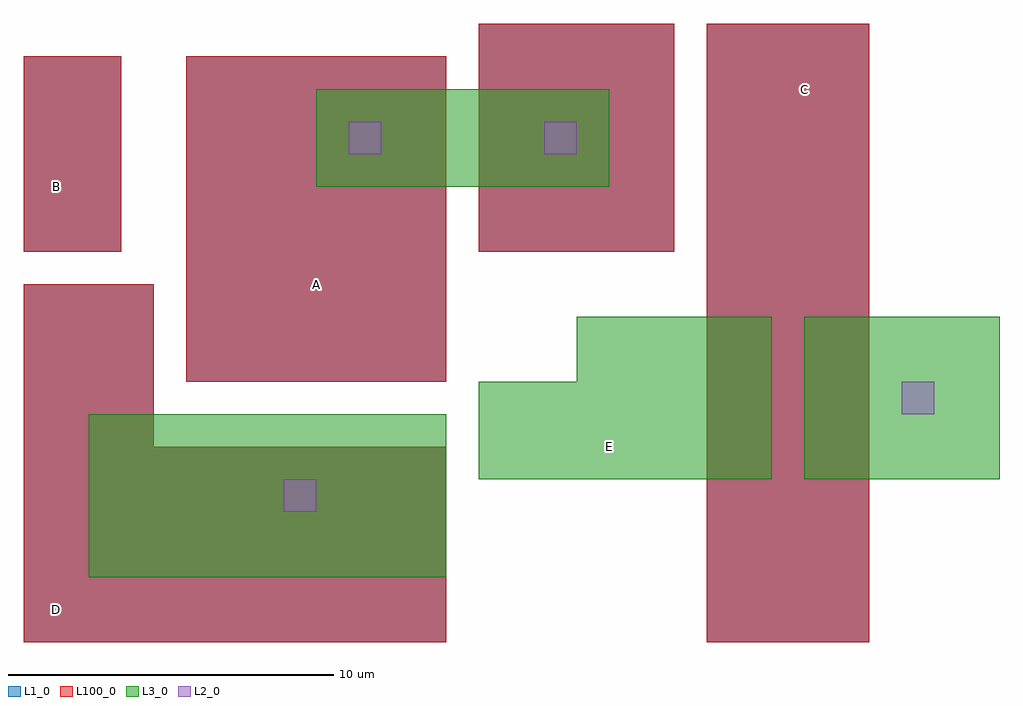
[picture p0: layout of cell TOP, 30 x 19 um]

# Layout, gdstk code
import gdstk
lib = gdstk.Library(unit=1e-6, precision=1e-09)
def R(c, l, rs):  # rectangles x0, y0, x1, y1
    for r in rs: c.add(gdstk.rectangle(r[:2], r[2:], *l))
def P(c, l, *ps):  # polygons
    for p in ps: c.add(gdstk.Polygon(p, *l))
L1_0 = (1, 0)
L2_0 = (2, 0)
L3_0 = (3, 0)
L100_0 = (100, 0)

top = lib.new_cell('TOP')
R(top, L1_0, [(-15,-10,-11,1), (-11,-10,-2,-4), (6,-10,11,9), (-10,-2,-2,8), (-15,2,-12,8), (-1,2,5,9)])
R(top, L2_0, [(-7,-6,-6,-5), (12,-3,13,-2), (-5,5,-4,6), (1,5,2,6)])
R(top, L3_0, [(-13,-8,-2,-3), (-1,-5,8,-2), (9,-5,15,0), (2,-2,8,0), (-6,4,3,7)])
R(top, L100_0, [(6,-10,11,9), (-10,-2,-2,8), (-15,2,-12,8), (-1,2,5,9)])
P(top, L100_0, [(-15,-10),(-15,1),(-11,1),(-11,-4),(-2,-4),(-2,-10)])
top.add(gdstk.Label('A', (-6,1), layer=1, texttype=0))
top.add(gdstk.Label('B', (-14,4), layer=1, texttype=0))
top.add(gdstk.Label('C', (9,7), layer=1, texttype=0))
top.add(gdstk.Label('D', (-14,-9), layer=1, texttype=0))
top.add(gdstk.Label('E', (3,-4), layer=3, texttype=0))

lib.write_gds('TOP.gds')
